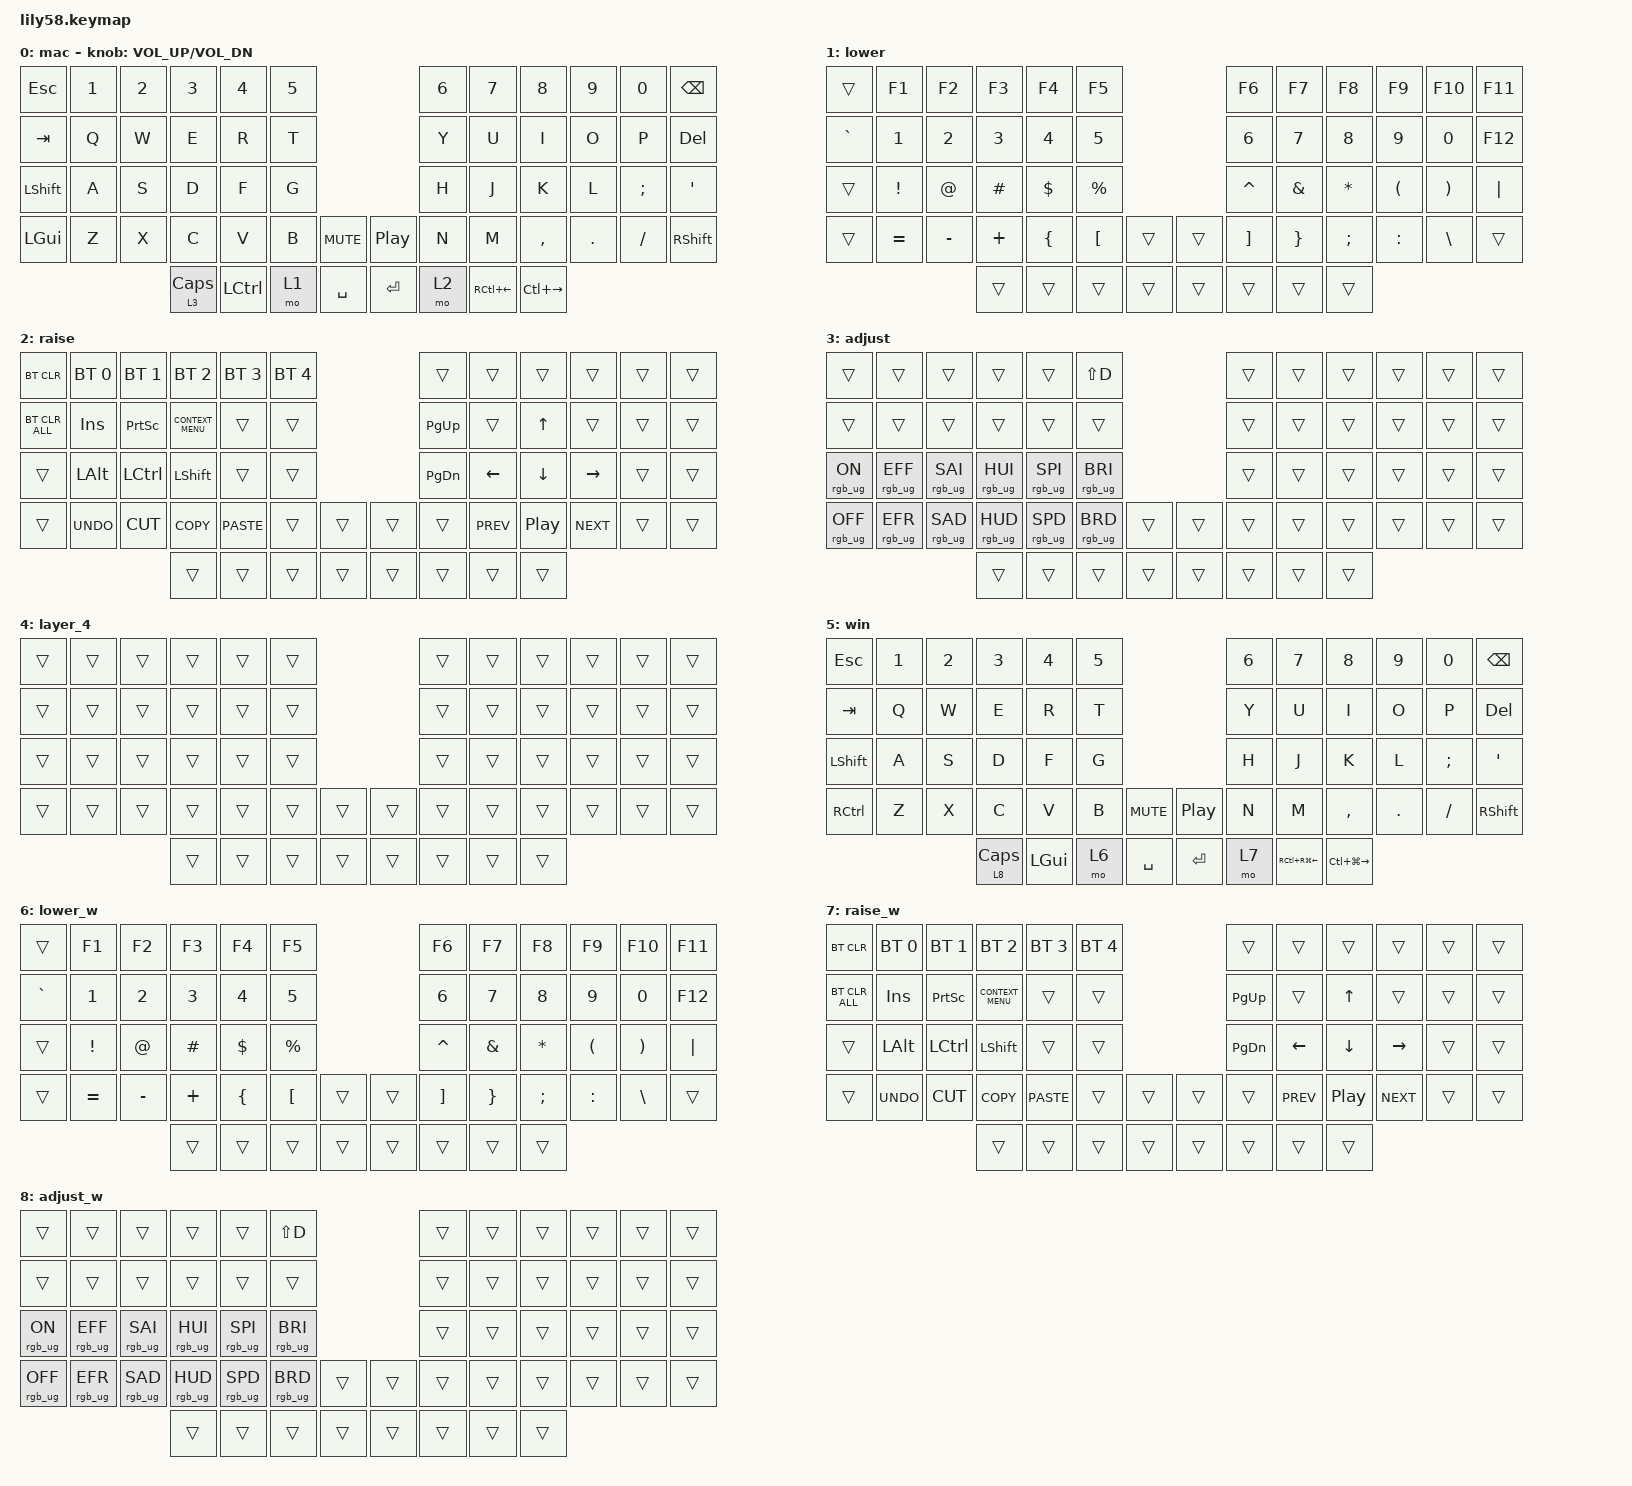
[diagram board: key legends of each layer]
/*
 * Copyright (c) 2020 The ZMK Contributors
 *
 * SPDX-License-Identifier: MIT
 */

#include <behaviors.dtsi>
#include <dt-bindings/zmk/bt.h>
#include <dt-bindings/zmk/keys.h>
#include <dt-bindings/zmk/rgb.h>

#define BT0     BT_SEL 0
#define BT1     BT_SEL 1
#define BT2     BT_SEL 2
#define BT3     BT_SEL 3
#define BT4     BT_SEL 4

/ {
    macros {
        caps_macro: caps_macro {
            compatible = "zmk,behavior-macro";
            label = "caps_macro";
            #binding-cells = <0>;
            wait-ms = <30>;
            tap-ms = <200>;
            bindings = <&kp CAPS>;
        };
    };

    behaviors {
        hm: homerow_mods {
            compatible = "zmk,behavior-hold-tap";
            #binding-cells = <2>;
            require-prior-idle-ms = <125>;
            tapping-term-ms = <200>;
            quick-tap-ms = <200>;
            flavor = "tap-preferred";
            bindings = <&kp>, <&kp>;
        };

        td_caps: tap_dance_caps {
            compatible = "zmk,behavior-tap-dance";
            #binding-cells = <0>;
            tapping-term-ms = <200>;
            bindings = <&kp LSHIFT>, <&caps_macro>;
        };

        hl: homerow_layertap {
            compatible = "zmk,behavior-hold-tap";
            #binding-cells = <2>;
            require-prior-idle-ms = <125>;
            tapping-term-ms = <200>;
            quick-tap-ms = <200>;
            flavor = "tap-preferred";
            bindings = <&mo>, <&kp>;
        };

        ht: hold_tap {
            label = "hold_tap";
            compatible = "zmk,behavior-hold-tap";
            #binding-cells = <2>;
            flavor = "balanced";
            tapping-term-ms = <200>;
            quick-tap-ms = <200>;
            bindings = <&kp>, <&kp>;
        };
    };

    combos {
        compatible = "zmk,combos";

        to_win {
            bindings = <&to 5>;
            key-positions = <39 40 41>;
        };

        to_mac {
            bindings = <&to 0>;
            key-positions = <27 28 29>;
        };
    };

    keymap {
        compatible = "zmk,keymap";

        mac {
            bindings = <
&kp ESC    &kp N1  &kp N2  &kp N3          &kp N4     &kp N5                                  &kp N6  &kp N7              &kp N8               &kp N9   &kp N0    &kp BSPC
&kp TAB    &kp Q   &kp W   &kp E           &kp R      &kp T                                   &kp Y   &kp U               &kp I                &kp O    &kp P     &kp DELETE
&kp LSHFT  &kp A   &kp S   &kp D           &kp F      &kp G                                   &kp H   &kp J               &kp K                &kp L    &kp SEMI  &kp SQT
&kp LGUI   &kp Z   &kp X   &kp C           &kp V      &kp B   &kp K_MUTE    &kp C_PLAY_PAUSE  &kp N   &kp M               &kp COMMA            &kp DOT  &kp FSLH  &kp RSHFT
                           &lt 3 CAPSLOCK  &kp LCTRL  &mo 1   &kp SPACE     &kp ENTER         &mo 2   &kp RC(LEFT_ARROW)  &kp LC(RIGHT_ARROW)
            >;

            label = "mac";
            sensor-bindings = <&inc_dec_kp C_VOL_UP C_VOL_DN>;
        };

        lower_layer {
            bindings = <
&trans     &kp F1     &kp F2       &kp F3    &kp F4          &kp F5                              &kp F6             &kp F7           &kp F8         &kp F9                &kp F10                &kp F11
&kp GRAVE  &kp N1     &kp N2       &kp N3    &kp N4          &kp N5                              &kp N6             &kp N7           &kp N8         &kp N9                &kp N0                 &kp F12
&trans     &kp EXCL   &kp AT_SIGN  &kp HASH  &kp DOLLAR      &kp PERCENT                         &kp CARET          &kp AMPERSAND    &kp ASTERISK   &kp LEFT_PARENTHESIS  &kp RIGHT_PARENTHESIS  &kp PIPE
&trans     &kp EQUAL  &kp MINUS    &kp PLUS  &kp LEFT_BRACE  &kp LEFT_BRACKET  &trans    &trans  &kp RIGHT_BRACKET  &kp RIGHT_BRACE  &kp SEMICOLON  &kp COLON             &kp BACKSLASH          &trans
                                   &trans    &trans          &trans            &trans    &trans  &trans             &trans           &trans
            >;

            label = "lower";
        };

        raise_layer {
            bindings = <
&bt BT_CLR      &bt BT_SEL 0  &bt BT_SEL 1     &bt BT_SEL 2        &bt BT_SEL 3  &bt BT_SEL 4                    &trans         &trans      &trans            &trans      &trans  &trans
&bt BT_CLR_ALL  &kp INS       &kp PRINTSCREEN  &kp K_CONTEXT_MENU  &trans        &trans                          &kp PG_UP      &trans      &kp UP_ARROW      &trans      &trans  &trans
&trans          &kp LEFT_ALT  &kp LCTRL        &kp LEFT_SHIFT      &trans        &trans                          &kp PAGE_DOWN  &kp LEFT    &kp DOWN          &kp RIGHT   &trans  &trans
&trans          &kp K_UNDO    &kp K_CUT        &kp K_COPY          &kp K_PASTE   &trans        &trans    &trans  &trans         &kp C_PREV  &kp C_PLAY_PAUSE  &kp C_NEXT  &trans  &trans
                                               &trans              &trans        &trans        &trans    &trans  &trans         &trans      &trans
            >;

            label = "raise";
        };

        adust_layer {
            bindings = <
&trans           &trans           &trans           &trans           &trans           &kp LS(D)                          &trans  &trans  &trans  &trans  &trans  &trans
&trans           &trans           &trans           &trans           &trans           &trans                             &trans  &trans  &trans  &trans  &trans  &trans
&rgb_ug RGB_ON   &rgb_ug RGB_EFF  &rgb_ug RGB_SAI  &rgb_ug RGB_HUI  &rgb_ug RGB_SPI  &rgb_ug RGB_BRI                    &trans  &trans  &trans  &trans  &trans  &trans
&rgb_ug RGB_OFF  &rgb_ug RGB_EFR  &rgb_ug RGB_SAD  &rgb_ug RGB_HUD  &rgb_ug RGB_SPD  &rgb_ug RGB_BRD  &trans    &trans  &trans  &trans  &trans  &trans  &trans  &trans
                                                   &trans           &trans           &trans           &trans    &trans  &trans  &trans  &trans
            >;

            label = "adjust";
        };

        layer_4 {
            bindings = <
&trans  &trans  &trans  &trans  &trans  &trans                    &trans  &trans  &trans  &trans  &trans  &trans
&trans  &trans  &trans  &trans  &trans  &trans                    &trans  &trans  &trans  &trans  &trans  &trans
&trans  &trans  &trans  &trans  &trans  &trans                    &trans  &trans  &trans  &trans  &trans  &trans
&trans  &trans  &trans  &trans  &trans  &trans  &trans    &trans  &trans  &trans  &trans  &trans  &trans  &trans
                        &trans  &trans  &trans  &trans    &trans  &trans  &trans  &trans
            >;
        };

        win {
            label = "win";
            bindings = <
&kp ESC    &kp N1  &kp N2  &kp N3          &kp N4        &kp N5                                  &kp N6  &kp N7                  &kp N8                   &kp N9   &kp N0    &kp BSPC
&kp TAB    &kp Q   &kp W   &kp E           &kp R         &kp T                                   &kp Y   &kp U                   &kp I                    &kp O    &kp P     &kp DELETE
&kp LSHFT  &kp A   &kp S   &kp D           &kp F         &kp G                                   &kp H   &kp J                   &kp K                    &kp L    &kp SEMI  &kp SQT
&kp RCTRL  &kp Z   &kp X   &kp C           &kp V         &kp B   &kp K_MUTE    &kp C_PLAY_PAUSE  &kp N   &kp M                   &kp COMMA                &kp DOT  &kp FSLH  &kp RSHFT
                           &lt 8 CAPSLOCK  &kp LEFT_GUI  &mo 6   &kp SPACE     &kp ENTER         &mo 7   &kp RC(RG(LEFT_ARROW))  &kp LC(LG(RIGHT_ARROW))
            >;
        };

        lower_layer_win {
            label = "lower_w";
            bindings = <
&trans     &kp F1     &kp F2       &kp F3    &kp F4          &kp F5                              &kp F6             &kp F7           &kp F8         &kp F9                &kp F10                &kp F11
&kp GRAVE  &kp N1     &kp N2       &kp N3    &kp N4          &kp N5                              &kp N6             &kp N7           &kp N8         &kp N9                &kp N0                 &kp F12
&trans     &kp EXCL   &kp AT_SIGN  &kp HASH  &kp DOLLAR      &kp PERCENT                         &kp CARET          &kp AMPERSAND    &kp ASTERISK   &kp LEFT_PARENTHESIS  &kp RIGHT_PARENTHESIS  &kp PIPE
&trans     &kp EQUAL  &kp MINUS    &kp PLUS  &kp LEFT_BRACE  &kp LEFT_BRACKET  &trans    &trans  &kp RIGHT_BRACKET  &kp RIGHT_BRACE  &kp SEMICOLON  &kp COLON             &kp BACKSLASH          &trans
                                   &trans    &trans          &trans            &trans    &trans  &trans             &trans           &trans
            >;
        };

        raise_layer_win {
            label = "raise_w";
            bindings = <
&bt BT_CLR      &bt BT_SEL 0  &bt BT_SEL 1     &bt BT_SEL 2        &bt BT_SEL 3  &bt BT_SEL 4                    &trans         &trans      &trans            &trans      &trans  &trans
&bt BT_CLR_ALL  &kp INS       &kp PRINTSCREEN  &kp K_CONTEXT_MENU  &trans        &trans                          &kp PG_UP      &trans      &kp UP_ARROW      &trans      &trans  &trans
&trans          &kp LEFT_ALT  &kp LCTRL        &kp LEFT_SHIFT      &trans        &trans                          &kp PAGE_DOWN  &kp LEFT    &kp DOWN          &kp RIGHT   &trans  &trans
&trans          &kp K_UNDO    &kp K_CUT        &kp K_COPY          &kp K_PASTE   &trans        &trans    &trans  &trans         &kp C_PREV  &kp C_PLAY_PAUSE  &kp C_NEXT  &trans  &trans
                                               &trans              &trans        &trans        &trans    &trans  &trans         &trans      &trans
            >;
        };

        adjust_layer_win {
            label = "adjust_w";
            bindings = <
&trans           &trans           &trans           &trans           &trans           &kp LS(D)                          &trans  &trans  &trans  &trans  &trans  &trans
&trans           &trans           &trans           &trans           &trans           &trans                             &trans  &trans  &trans  &trans  &trans  &trans
&rgb_ug RGB_ON   &rgb_ug RGB_EFF  &rgb_ug RGB_SAI  &rgb_ug RGB_HUI  &rgb_ug RGB_SPI  &rgb_ug RGB_BRI                    &trans  &trans  &trans  &trans  &trans  &trans
&rgb_ug RGB_OFF  &rgb_ug RGB_EFR  &rgb_ug RGB_SAD  &rgb_ug RGB_HUD  &rgb_ug RGB_SPD  &rgb_ug RGB_BRD  &trans    &trans  &trans  &trans  &trans  &trans  &trans  &trans
                                                   &trans           &trans           &trans           &trans    &trans  &trans  &trans  &trans
            >;
        };
    };
};
